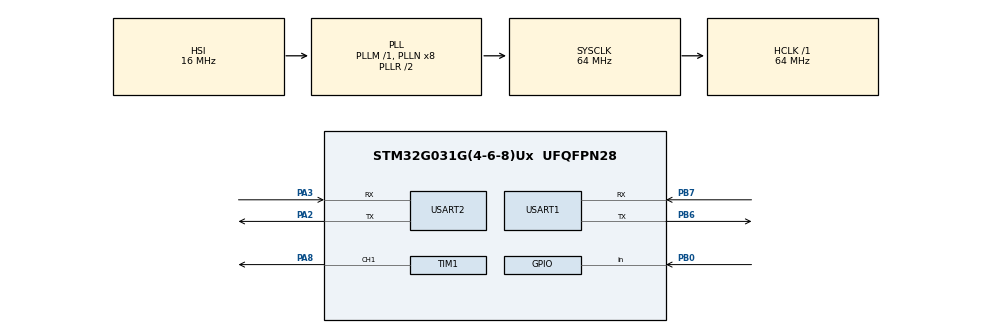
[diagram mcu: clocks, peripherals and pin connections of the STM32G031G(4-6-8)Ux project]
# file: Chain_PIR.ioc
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Dma.Request0=USART1_RX
Dma.Request1=USART1_TX
Dma.Request2=USART2_RX
Dma.Request3=USART2_TX
Dma.Request4=TIM1_CH1
Dma.TIM1_CH1.4.Direction=DMA_MEMORY_TO_PERIPH
Dma.TIM1_CH1.4.EventEnable=DISABLE
Dma.TIM1_CH1.4.Instance=DMA1_Channel5
Dma.TIM1_CH1.4.MemDataAlignment=DMA_MDATAALIGN_BYTE
Dma.TIM1_CH1.4.MemInc=DMA_MINC_ENABLE
Dma.TIM1_CH1.4.Mode=DMA_NORMAL
Dma.TIM1_CH1.4.PeriphDataAlignment=DMA_PDATAALIGN_HALFWORD
Dma.TIM1_CH1.4.PeriphInc=DMA_PINC_DISABLE
Dma.TIM1_CH1.4.Polarity=HAL_DMAMUX_REQ_GEN_RISING
Dma.TIM1_CH1.4.Priority=DMA_PRIORITY_LOW
Dma.TIM1_CH1.4.RequestNumber=1
Dma.TIM1_CH1.4.SignalID=NONE
Dma.TIM1_CH1.4.SyncEnable=DISABLE
Dma.TIM1_CH1.4.SyncPolarity=HAL_DMAMUX_SYNC_NO_EVENT
Dma.TIM1_CH1.4.SyncRequestNumber=1
Dma.TIM1_CH1.4.SyncSignalID=NONE
Dma.USART1_RX.0.Direction=DMA_PERIPH_TO_MEMORY
Dma.USART1_RX.0.EventEnable=DISABLE
Dma.USART1_RX.0.Instance=DMA1_Channel1
Dma.USART1_RX.0.MemDataAlignment=DMA_MDATAALIGN_BYTE
Dma.USART1_RX.0.MemInc=DMA_MINC_ENABLE
Dma.USART1_RX.0.Mode=DMA_NORMAL
Dma.USART1_RX.0.PeriphDataAlignment=DMA_PDATAALIGN_BYTE
Dma.USART1_RX.0.PeriphInc=DMA_PINC_DISABLE
Dma.USART1_RX.0.Polarity=HAL_DMAMUX_REQ_GEN_RISING
Dma.USART1_RX.0.Priority=DMA_PRIORITY_LOW
Dma.USART1_RX.0.RequestNumber=1
Dma.USART1_RX.0.SignalID=NONE
Dma.USART1_RX.0.SyncEnable=DISABLE
Dma.USART1_RX.0.SyncPolarity=HAL_DMAMUX_SYNC_NO_EVENT
Dma.USART1_RX.0.SyncRequestNumber=1
Dma.USART1_RX.0.SyncSignalID=NONE
Dma.USART1_TX.1.Direction=DMA_MEMORY_TO_PERIPH
Dma.USART1_TX.1.EventEnable=DISABLE
Dma.USART1_TX.1.Instance=DMA1_Channel2
Dma.USART1_TX.1.MemDataAlignment=DMA_MDATAALIGN_BYTE
Dma.USART1_TX.1.MemInc=DMA_MINC_ENABLE
Dma.USART1_TX.1.Mode=DMA_NORMAL
Dma.USART1_TX.1.PeriphDataAlignment=DMA_PDATAALIGN_BYTE
Dma.USART1_TX.1.PeriphInc=DMA_PINC_DISABLE
Dma.USART1_TX.1.Polarity=HAL_DMAMUX_REQ_GEN_RISING
Dma.USART1_TX.1.Priority=DMA_PRIORITY_LOW
Dma.USART1_TX.1.RequestNumber=1
Dma.USART1_TX.1.SignalID=NONE
Dma.USART1_TX.1.SyncEnable=DISABLE
Dma.USART1_TX.1.SyncPolarity=HAL_DMAMUX_SYNC_NO_EVENT
Dma.USART1_TX.1.SyncRequestNumber=1
Dma.USART1_TX.1.SyncSignalID=NONE
Dma.USART2_RX.2.Direction=DMA_PERIPH_TO_MEMORY
Dma.USART2_RX.2.EventEnable=DISABLE
Dma.USART2_RX.2.Instance=DMA1_Channel3
Dma.USART2_RX.2.MemDataAlignment=DMA_MDATAALIGN_BYTE
Dma.USART2_RX.2.MemInc=DMA_MINC_ENABLE
Dma.USART2_RX.2.Mode=DMA_NORMAL
Dma.USART2_RX.2.PeriphDataAlignment=DMA_PDATAALIGN_BYTE
Dma.USART2_RX.2.PeriphInc=DMA_PINC_DISABLE
Dma.USART2_RX.2.Polarity=HAL_DMAMUX_REQ_GEN_RISING
Dma.USART2_RX.2.Priority=DMA_PRIORITY_LOW
Dma.USART2_RX.2.RequestNumber=1
Dma.USART2_RX.2.SignalID=NONE
Dma.USART2_RX.2.SyncEnable=DISABLE
Dma.USART2_RX.2.SyncPolarity=HAL_DMAMUX_SYNC_NO_EVENT
Dma.USART2_RX.2.SyncRequestNumber=1
Dma.USART2_RX.2.SyncSignalID=NONE
Dma.USART2_TX.3.Direction=DMA_MEMORY_TO_PERIPH
Dma.USART2_TX.3.EventEnable=DISABLE
Dma.USART2_TX.3.Instance=DMA1_Channel4
Dma.USART2_TX.3.MemDataAlignment=DMA_MDATAALIGN_BYTE
Dma.USART2_TX.3.MemInc=DMA_MINC_ENABLE
Dma.USART2_TX.3.Mode=DMA_NORMAL
Dma.USART2_TX.3.PeriphDataAlignment=DMA_PDATAALIGN_BYTE
Dma.USART2_TX.3.PeriphInc=DMA_PINC_DISABLE
Dma.USART2_TX.3.Polarity=HAL_DMAMUX_REQ_GEN_RISING
Dma.USART2_TX.3.Priority=DMA_PRIORITY_LOW
Dma.USART2_TX.3.RequestNumber=1
Dma.USART2_TX.3.SignalID=NONE
Dma.USART2_TX.3.SyncEnable=DISABLE
Dma.USART2_TX.3.SyncPolarity=HAL_DMAMUX_SYNC_NO_EVENT
Dma.USART2_TX.3.SyncRequestNumber=1
Dma.USART2_TX.3.SyncSignalID=NONE
IWDG.Prescaler=IWDG_PRESCALER_16
Mcu.Family=STM32G0
Mcu.Name=STM32G031G(4-6-8)Ux
Mcu.Package=UFQFPN28
NVIC.DMA1_Ch4_5_DMAMUX1_OVR_IRQn=true\:1\:0\:true\:false\:true\:false\:true\:true
NVIC.DMA1_Channel1_IRQn=true\:1\:0\:true\:false\:true\:false\:true\:true
NVIC.DMA1_Channel2_3_IRQn=true\:1\:0\:true\:false\:true\:false\:true\:true
NVIC.FLASH_IRQn=true\:1\:0\:true\:false\:true\:true\:true\:true
NVIC.TIM14_IRQn=true\:1\:0\:true\:false\:true\:true\:true\:true
NVIC.TIM16_IRQn=true\:1\:0\:true\:false\:true\:true\:true\:true
NVIC.TIM17_IRQn=true\:1\:0\:true\:false\:true\:true\:true\:true
NVIC.USART1_IRQn=true\:0\:0\:false\:false\:true\:false\:true\:true
NVIC.USART2_IRQn=true\:0\:0\:false\:false\:true\:false\:true\:true
PA2.GPIO_PuPd=GPIO_PULLUP
PA2.GPIO_Speed=GPIO_SPEED_FREQ_HIGH
PA2.Mode=Asynchronous
PA2.PinState=GPIO_PIN_RESET
PA2.Signal=USART2_TX
PA3.GPIO_PuPd=GPIO_PULLUP
PA3.GPIO_Speed=GPIO_SPEED_FREQ_HIGH
PA3.Mode=Asynchronous
PA3.PinState=GPIO_PIN_RESET
PA3.Signal=USART2_RX
PA8.Signal=S_TIM1_CH1
PB0.GPIO_PuPd=GPIO_NOPULL
PB0.Signal=GPIO_Input
PB6.GPIO_PuPd=GPIO_PULLUP
PB6.GPIO_Speed=GPIO_SPEED_FREQ_HIGH
PB6.Mode=Asynchronous
PB6.Signal=USART1_TX
PB7.GPIO_PuPd=GPIO_PULLUP
PB7.GPIO_Speed=GPIO_SPEED_FREQ_HIGH
PB7.Mode=Asynchronous
PB7.Signal=USART1_RX
ProjectManager.HeapSize=0x200
ProjectManager.StackSize=0x400
ProjectManager.TargetToolchain=STM32CubeIDE
RCC.ADCFreq_Value=64000000
RCC.AHBFreq_Value=64000000
RCC.CortexFreq_Value=64000000
RCC.EXTERNAL_CLOCK_VALUE=12288000
RCC.HCLKFreq_Value=64000000
RCC.HSE_VALUE=8000000
RCC.HSI_VALUE=16000000
RCC.LSE_VALUE=32768
RCC.PLLQ=RCC_PLLQ_DIV4
RCC.SYSCLKFreq_VALUE=64000000
RCC.SYSCLKSource=RCC_SYSCLKSOURCE_PLLCLK
RCC.VCOOutputFreq_Value=128000000
SH.S_TIM1_CH1.0=TIM1_CH1,PWM Generation1 CH1
TIM1.Channel-PWM\ Generation1\ CH1=TIM_CHANNEL_1
TIM1.Period=79
TIM14.AutoReloadPreload=TIM_AUTORELOAD_PRELOAD_ENABLE
TIM14.Period=1699
TIM14.Prescaler=6399
TIM16.Period=29999
TIM16.Prescaler=6399
TIM17.Period=9999
TIM17.Prescaler=6399
USART1.VirtualMode-Asynchronous=VM_ASYNC
USART2.VirtualMode-Asynchronous=VM_ASYNC
VP_IWDG_VS_IWDG.Mode=IWDG_Activate
VP_TIM14_VS_ClockSourceINT.Mode=Enable_Timer
VP_TIM16_VS_ClockSourceINT.Mode=Enable_Timer
VP_TIM17_VS_ClockSourceINT.Mode=Enable_Timer
VP_TIM1_VS_ClockSourceINT.Mode=Internal
board=custom

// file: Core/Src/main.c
/* USER CODE BEGIN Header */
/**
 ******************************************************************************
 * @file           : main.c
 * @brief          : Main program body
 ******************************************************************************
 * @attention
 *
 * Copyright (c) 2024 STMicroelectronics.
 * All rights reserved.
 *
 * This software is licensed under terms that can be found in the LICENSE file
 * in the root directory of this software component.
 * If no LICENSE file comes with this software, it is provided AS-IS.
 *
 ******************************************************************************
 */
/* USER CODE END Header */
#include "main.h"
#include "dma.h"
#include "iwdg.h"
#include "tim.h"
#include "usart.h"
#include "gpio.h"

/* USER CODE BEGIN Includes */
#include "RGB.h"
#include "myflash.h"
#include "pir_function.h"
#include "base_function.h"
/* USER CODE END Includes */

/* USER CODE BEGIN PV */
// DMA receive buffers
__IO uint8_t g_uart_in_rx_buf[UART_BUFFER_SIZE][BUFFER_SIZE * 2];   // uart_in
                                                                    // receive
                                                                    // buffer for
                                                                    // DMA
__IO uint8_t g_uart_out_rx_buf[UART_BUFFER_SIZE][BUFFER_SIZE * 2];  // uart_out
                                                                    // receive
                                                                    // buffer for
                                                                    // DMA

// Transmission status for UART
__IO uint8_t g_uart_in_rx_index  = 0;  // Index for UART input (receiving) buffer position
__IO uint8_t g_uart_out_rx_index = 0;  // Index for UART output (receiving) buffer position

// Transmission complete flags for UART
__IO uint8_t g_uart_in_transmit_complete  = 1;  // Flag indicating if uart_in transmission is complete (1: complete)
__IO uint8_t g_uart_out_transmit_complete = 1;  // Flag indicating if uart_out transmission is complete (1: complete)

// Command buffer and related variables
__IO uint8_t g_cmd_buf[BUFFER_SIZE] = {0};                    // Command buffer initialized to zero
__IO uint8_t g_cmd_size             = 0;                      // Size of the command currently in the buffer
__IO uint8_t g_cmd_status           = CMD_SPACE_IDLE_STATUS;  // Status of the command processing

// Device status variables
__IO uint8_t g_tail_status        = CHAIN_TAIL_DEVICE;  // Status of the tail device in the chain
__IO uint8_t g_heart_beat_record  = 0;                  // Heartbeat record for monitoring device status
__IO uint8_t g_bootloader_version = 0;                  // Version of the bootloader
__IO uint8_t g_firmware_version   = SOFTWARE_VERSION;   // Version of the firmware

// Device type information
__IO uint16_t g_device_type =
    (uint8_t)((PRODUCT_TYPE_HIGH << 8) | PRODUCT_TYPE_LOW);  // Combined product type from high and low bytes
__IO uint8_t g_light = 0;                                    // Light status or value

__IO uint8_t g_rgb_set_complete_flag = 0;  // Status indicating if the rgb dma send data to port finished
                                           // (0: sending, 1: send complete)

// Device function variables
__IO uint8_t g_trigger_keep_seconds = 0;

// Device Unique identifier
__IO uint8_t g_uid[12] = {0};  // Unique identifier

/* USER CODE END PV */

void SystemClock_Config(void);

/* USER CODE BEGIN 0 */
/**
 * @brief Set the Interrupt Vector Table for the application in SRAM.
 * @param None
 * @retval None
 */
void iap_set(void)
{
    uint8_t i;                                     // Loop index
    uint32_t *pVecTab = (uint32_t *)(0x20000000);  // Pointer to the vector table in SRAM

    // Copy the interrupt vector table from the application address to SRAM
    for (i = 0; i < 48; i++) {
        // Copy each vector entry to the SRAM vector table
        *(pVecTab++) = *(__IO uint32_t *)(APPLICATION_ADDRESS + (i << 2));
    }

    // Enable the SYSCFG peripheral clock
    __HAL_RCC_SYSCFG_CLK_ENABLE();

    // Remap the memory to use SRAM for the vector table
    __HAL_SYSCFG_REMAPMEMORY_SRAM();
}

/**
 * @brief Initialize the chain device settings.
 * @param None
 * @retval None
 */
void chain_init(void)
{
    // Retrieve bootloader version number
    g_bootloader_version = get_bootloader_version();

    // Check the RGB light status
    if (get_rgb_light() == 0xFF) {  // If the RGB light status is not set
        g_light = RGB_LIGHT_BASE;   // Set to the base light value
        set_rgb_light(g_light);     // Update the light status in the system
    } else {
        g_light = get_rgb_light();  // Retrieve the current RGB light status
    }

    if ((get_trigger_keep_seconds() == 0xFF) && (get_is_trigger_keep_time_set() == 0xFF)) {
        g_trigger_keep_seconds = TRIGGER_KEEP_SECONDS_DEAULT;

        set_trigger_keep_seconds(g_trigger_keep_seconds);
    } else {
        g_trigger_keep_seconds = get_trigger_keep_seconds();
    }
}

void read_uid(void)
{
    uint32_t uid0 = HAL_GetUIDw0();
    uint32_t uid1 = HAL_GetUIDw1();
    uint32_t uid2 = HAL_GetUIDw2();

    memcpy(&g_uid[0], &uid0, 4);
    memcpy(&g_uid[4], &uid1, 4);
    memcpy(&g_uid[8], &uid2, 4);
}

/* USER CODE END 0 */

int main(void)
{
    /* USER CODE BEGIN 1 */
    iap_set();
    chain_init();
    read_uid();
    /* USER CODE END 1 */

    /* MCU Configuration--------------------------------------------------------*/

    /* Reset of all peripherals, Initializes the Flash interface and the Systick. */
    HAL_Init();

    /* Configure the system clock */
    SystemClock_Config();

    /* Initialize all configured peripherals */
    MX_GPIO_Init();
    MX_DMA_Init();
    MX_USART1_UART_Init();
    MX_USART2_UART_Init();
    MX_IWDG_Init();
    MX_TIM14_Init();
    MX_TIM1_Init();
    MX_TIM16_Init();
    MX_TIM17_Init();
    /* USER CODE BEGIN 2 */
    rgb_init();
    HAL_Delay(1);
    LL_TIM_ClearFlag_UPDATE(TIM14);  // Clear update TIM14
    LL_TIM_EnableIT_UPDATE(TIM14);   // ENABLE TIM14
    LL_TIM_EnableCounter(TIM14);     // ENABLE TIM14
    HAL_Delay(1);
    LL_TIM_ClearFlag_UPDATE(TIM17);  // Clear update TIM17
    LL_TIM_EnableIT_UPDATE(TIM17);   // ENABLE TIM17
    LL_TIM_EnableCounter(TIM17);     // ENABLE TIM17
    HAL_Delay(1);
    LL_TIM_ClearFlag_UPDATE(TIM16);  // Clear update TIM16
    LL_TIM_EnableIT_UPDATE(TIM16);   // ENABLE TIM16
    LL_TIM_EnableCounter(TIM16);     // ENABLE TIM16
    HAL_Delay(1);
    /* USER CODE END 2 */

    /* Infinite loop */
    /* USER CODE BEGIN WHILE */
    while (1) {
        if (g_cmd_status == CMD_SPACE_BUSY_STATUS) {
            switch (g_cmd_buf[0]) {
                case CHAIN_GET_UID:
                    chain_get_uid_handle(g_cmd_buf[1]);
                    break;
                case CHAIN_SET_RGB_VALUE:
                    chain_set_rgb_value((uint8_t *)(g_cmd_buf + 1), (g_cmd_size - 1));
                    break;
                case CHAIN_GET_RGB_VALUE:
                    chain_get_rgb_value((uint8_t *)(g_cmd_buf + 1), (g_cmd_size - 1));
                    break;
                case CHAIN_SET_RGB_LIGHT:
                    chain_set_light_value(g_cmd_buf[1], g_cmd_buf[2]);
                    break;
                case CHAIN_GET_RGB_LIGHT:
                    chain_get_light_value();
                    break;
                case CHAIN_PIR_GET_IR:
                    chain_pir_get_ir_induction();
                    break;
                case CHAIN_PIR_SET_AUTO_SEND_IR_STATUS:
                    chain_pir_set_auto_send_status(g_cmd_buf[1]);
                    break;
                case CHAIN_PIR_GET_AUTO_SEND_IR_STATUS:
                    chain_pir_get_auto_send_status();
                    break;
                case CHAIN_SET_TRIGGER_DELAY:
                    chain_pir_set_trigger_keep_seconds(g_cmd_buf[1], g_cmd_buf[2]);
                    break;
                case CHAIN_GET_TRIGGER_DELAY:
                    chain_pir_get_trigger_delay_times();
                    break;
                case CHAIN_GET_BOOTLOADER_VERSION:
                    chain_get_bootloader_version_handle();
                    break;
                case CHAIN_GET_VERSION_DEVICE:
                    chain_get_firmware_version_handle();
                    break;
                case CHAIN_GET_DEVICE_TYPE:
                    chain_get_device_type_handle();
                    break;
                case CHAIN_IAP_UPDATE:
                    chain_iap_update_handle(g_cmd_buf[1]);
                    break;
                default:
                    break;
            }
            g_cmd_status = CMD_SPACE_IDLE_STATUS;
        }
        /* USER CODE END WHILE */

        /* USER CODE BEGIN 3 */
        pir_status_update();
        rgb_update();
        LL_IWDG_ReloadCounter(IWDG);
    }
    /* USER CODE END 3 */
}

void SystemClock_Config(void)
{
    RCC_OscInitTypeDef RCC_OscInitStruct = {0};
    RCC_ClkInitTypeDef RCC_ClkInitStruct = {0};

    /** Configure the main internal regulator output voltage
     */
    HAL_PWREx_ControlVoltageScaling(PWR_REGULATOR_VOLTAGE_SCALE1);

    /** Initializes the RCC Oscillators according to the specified parameters
     * in the RCC_OscInitTypeDef structure.
     */
    RCC_OscInitStruct.OscillatorType      = RCC_OSCILLATORTYPE_HSI | RCC_OSCILLATORTYPE_LSI;
    RCC_OscInitStruct.HSIState            = RCC_HSI_ON;
    RCC_OscInitStruct.HSIDiv              = RCC_HSI_DIV1;
    RCC_OscInitStruct.HSICalibrationValue = RCC_HSICALIBRATION_DEFAULT;
    RCC_OscInitStruct.LSIState            = RCC_LSI_ON;
    RCC_OscInitStruct.PLL.PLLState        = RCC_PLL_ON;
    RCC_OscInitStruct.PLL.PLLSource       = RCC_PLLSOURCE_HSI;
    RCC_OscInitStruct.PLL.PLLM            = RCC_PLLM_DIV1;
    RCC_OscInitStruct.PLL.PLLN            = 8;
    RCC_OscInitStruct.PLL.PLLP            = RCC_PLLP_DIV2;
    RCC_OscInitStruct.PLL.PLLQ            = RCC_PLLQ_DIV4;
    RCC_OscInitStruct.PLL.PLLR            = RCC_PLLR_DIV2;
    if (HAL_RCC_OscConfig(&RCC_OscInitStruct) != HAL_OK) {
        Error_Handler();
    }

    /** Initializes the CPU, AHB and APB buses clocks
     */
    RCC_ClkInitStruct.ClockType      = RCC_CLOCKTYPE_HCLK | RCC_CLOCKTYPE_SYSCLK | RCC_CLOCKTYPE_PCLK1;
    RCC_ClkInitStruct.SYSCLKSource   = RCC_SYSCLKSOURCE_PLLCLK;
    RCC_ClkInitStruct.AHBCLKDivider  = RCC_SYSCLK_DIV1;
    RCC_ClkInitStruct.APB1CLKDivider = RCC_HCLK_DIV1;

    if (HAL_RCC_ClockConfig(&RCC_ClkInitStruct, FLASH_LATENCY_2) != HAL_OK) {
        Error_Handler();
    }
}

void Error_Handler(void)
{
    __disable_irq();
    while (1) {
    }
}

#ifdef USE_FULL_ASSERT
/**
 * @brief  Reports the name of the source file and the source line number
 *         where the assert_param error has occurred.
 * @param  file: pointer to the source file name
 * @param  line: assert_param error line source number
 * @retval None
 */
void assert_failed(uint8_t *file, uint32_t line)
{
    /* USER CODE BEGIN 6 */
    /* User can add his own implementation to report the file name and line
       number,
       ex: printf("Wrong parameters value: file %s on line %d\r\n", file, line) */
    /* USER CODE END 6 */
}
#endif /* USE_FULL_ASSERT */
